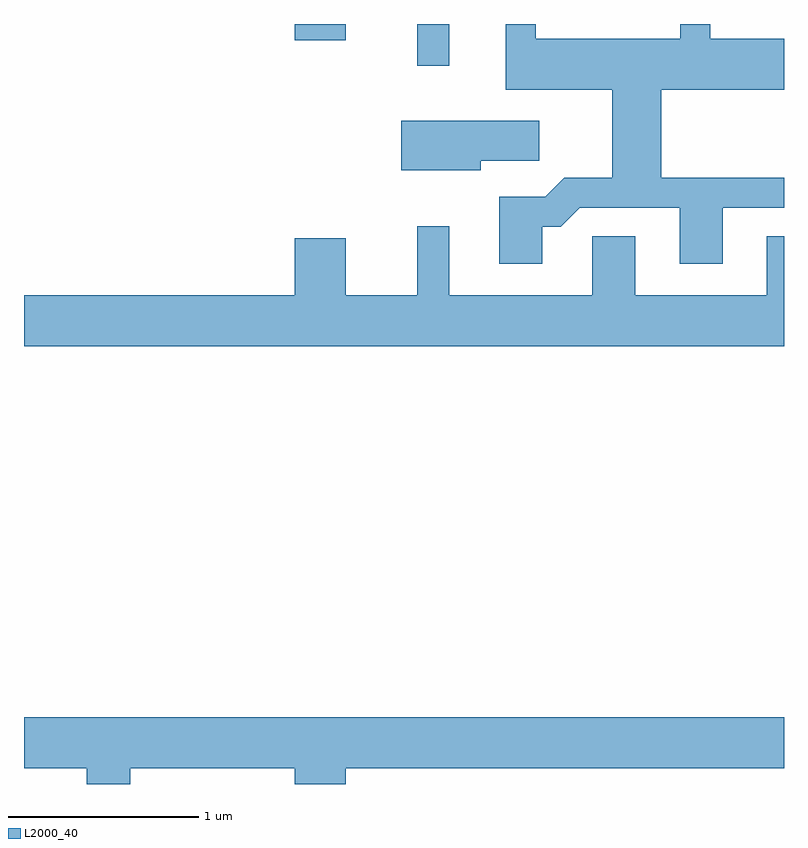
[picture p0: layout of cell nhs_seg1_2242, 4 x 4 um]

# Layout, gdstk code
import gdstk
lib = gdstk.Library(unit=1e-6, precision=1e-09)
def R(c, l, rs):  # rectangles x0, y0, x1, y1
    for r in rs: c.add(gdstk.rectangle(r[:2], r[2:], *l))
def P(c, l, *ps):  # polygons
    for p in ps: c.add(gdstk.Polygon(p, *l))
L2000_40 = (2000, 40)

nhs_seg1_2242 = lib.new_cell('nhs_seg1_2242')
R(nhs_seg1_2242, L2000_40, [(255.681,905.493,255.849,905.712), (255.036,905.626,255.304,905.712)])
P(nhs_seg1_2242, L2000_40, [(256.339,904.646),(256.437,904.646),(256.537,904.746),(257.061,904.746),(257.061,904.451),(257.289,904.451),(257.289,904.746),(257.611,904.746),(257.611,904.904),(256.964,904.904),(256.964,905.366),(257.611,905.366),(257.611,905.634),(257.224,905.634),(257.224,905.712),(257.066,905.712),(257.066,905.634),(256.304,905.634),(256.304,905.712),(256.146,905.712),(256.146,905.366),(256.706,905.366),(256.706,904.904),(256.454,904.904),(256.354,904.804),(256.111,904.804),(256.111,904.451),(256.339,904.451)],
  [(256.014,904.991),(256.324,904.991),(256.324,905.204),(255.596,905.204),(255.596,904.941),(256.014,904.941)],
  [(257.611,904.594),(257.521,904.594),(257.521,904.284),(256.829,904.284),(256.829,904.594),(256.601,904.594),(256.601,904.284),(255.849,904.284),(255.849,904.648),(255.681,904.648),(255.681,904.284),(255.304,904.284),(255.304,904.584),(255.036,904.584),(255.036,904.284),(253.611,904.284),(253.611,904.016),(257.611,904.016)],
  [(254.169,901.796),(255.036,901.796),(255.036,901.712),(255.304,901.712),(255.304,901.796),(257.611,901.796),(257.611,902.064),(253.611,902.064),(253.611,901.796),(253.941,901.796),(253.941,901.712),(254.169,901.712)])

lib.write_gds('nhs_seg1_2242.gds')
